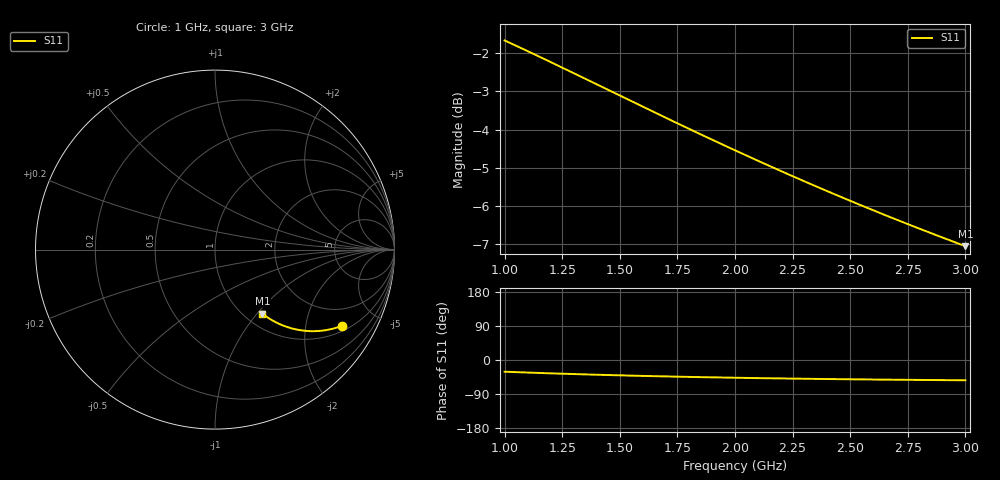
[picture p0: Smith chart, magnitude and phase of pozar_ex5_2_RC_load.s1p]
! Created with skrf 2.1.0 (http://scikit-rf.org).
# GHz S DB R 50.0
!freq dBS11 angS11
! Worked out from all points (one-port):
!   201 points, 1 GHz to 3 GHz, reference 50 ohm
!   lowest |S11| = -7.1 dB at 3 GHz (marker M1), VSWR 2.60, Z = 60 - j53.3 ohm
!   |S11| at or under -10 dB: nowhere
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1  -1.66 -30.9
1.06  -1.83 -32.3
1.12  -2.00 -33.6
1.18  -2.17 -34.8
1.25  -2.38 -36.2
1.31  -2.55 -37.3
1.37  -2.73 -38.4
1.43  -2.90 -39.4
1.5  -3.11 -40.5
1.56  -3.29 -41.4
1.62  -3.46 -42.3
1.68  -3.63 -43.1
1.75  -3.84 -44.0
1.81  -4.01 -44.8
1.87  -4.18 -45.5
1.93  -4.35 -46.1
2  -4.54 -46.9
2.06  -4.71 -47.4
2.12  -4.87 -48.0
2.18  -5.04 -48.5
2.25  -5.22 -49.1
2.37  -5.54 -50.0
2.43  -5.69 -50.5
2.5  -5.87 -50.9
2.62  -6.17 -51.7
2.75  -6.48 -52.4
2.87  -6.76 -53.0
3  -7.06 -53.5
